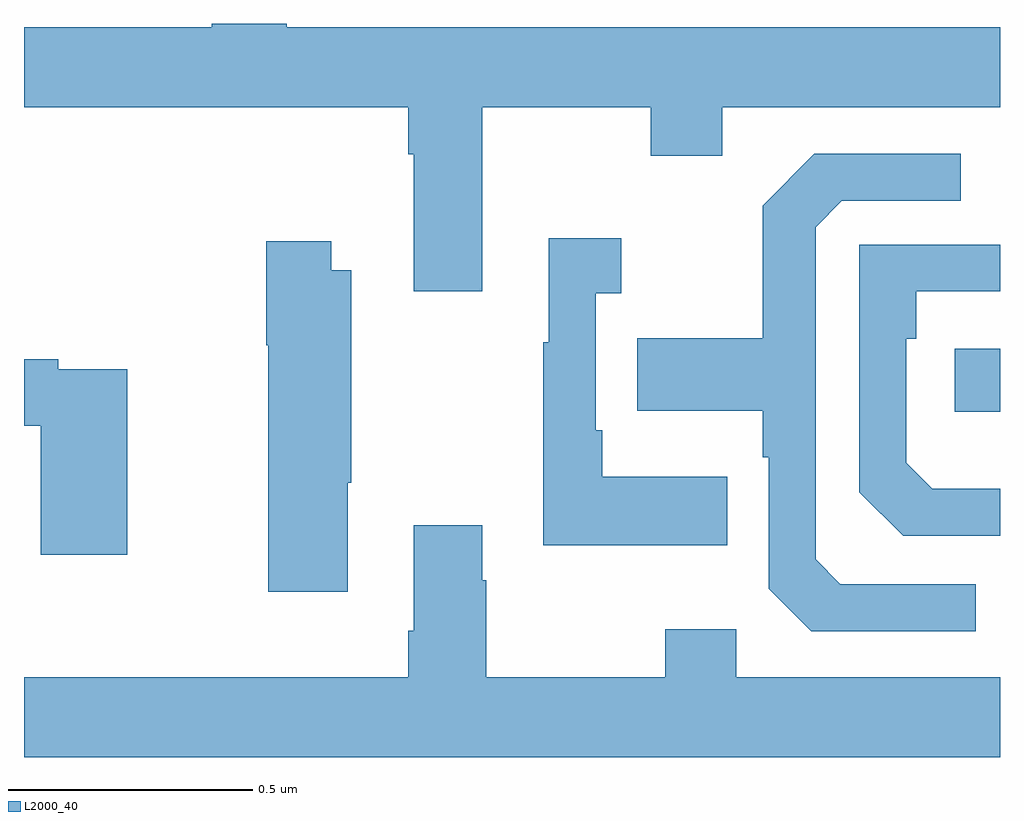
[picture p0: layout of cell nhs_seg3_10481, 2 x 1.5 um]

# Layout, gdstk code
import gdstk
lib = gdstk.Library(unit=1e-6, precision=1e-09)
def R(c, l, rs):  # rectangles x0, y0, x1, y1
    for r in rs: c.add(gdstk.rectangle(r[:2], r[2:], *l))
def P(c, l, *ps):  # polygons
    for p in ps: c.add(gdstk.Polygon(p, *l))
L2000_40 = (2000, 40)

nhs_seg3_10481 = lib.new_cell('nhs_seg3_10481')
R(nhs_seg3_10481, L2000_40, [(242.907,721.604,243,721.734)])
P(nhs_seg3_10481, L2000_40, [(241.939,722.228),(242.284,722.228),(242.284,722.129),(242.431,722.129),(242.431,722.228),(243,722.228),(243,722.392),(241.538,722.392),(241.538,722.4),(241.385,722.4),(241.385,722.392),(241,722.392),(241,722.228),(241.787,722.228),(241.787,722.132),(241.799,722.132),(241.799,721.851),(241.939,721.851)],
  [(242.95,721.251),(242.673,721.251),(242.622,721.302),(242.622,721.983),(242.676,722.037),(242.92,722.037),(242.92,722.133),(242.619,722.133),(242.514,722.027),(242.514,721.755),(242.257,721.755),(242.257,721.607),(242.514,721.607),(242.514,721.511),(242.526,721.511),(242.526,721.242),(242.613,721.155),(242.95,721.155)],
  [(242.441,721.471),(242.185,721.471),(242.185,721.567),(242.172,721.567),(242.172,721.847),(242.224,721.847),(242.224,721.96),(242.075,721.96),(242.075,721.747),(242.064,721.747),(242.064,721.331),(242.441,721.331)],
  [(241.663,721.459),(241.671,721.459),(241.671,721.894),(241.63,721.894),(241.63,721.954),(241.496,721.954),(241.496,721.741),(241.501,721.741),(241.501,721.236),(241.663,721.236)],
  [(243,721.447),(242.861,721.447),(242.808,721.5),(242.808,721.754),(242.828,721.754),(242.828,721.851),(243,721.851),(243,721.947),(242.712,721.947),(242.712,721.44),(242.802,721.35),(243,721.35)],
  [(241.212,721.692),(241.07,721.692),(241.07,721.712),(241,721.712),(241,721.576),(241.034,721.576),(241.034,721.311),(241.212,721.311)],
  [(243,721.06),(242.46,721.06),(242.46,721.159),(242.314,721.159),(242.314,721.06),(241.947,721.06),(241.947,721.259),(241.939,721.259),(241.939,721.372),(241.799,721.372),(241.799,721.156),(241.787,721.156),(241.787,721.06),(241,721.06),(241,720.896),(243,720.896)])

lib.write_gds('nhs_seg3_10481.gds')
